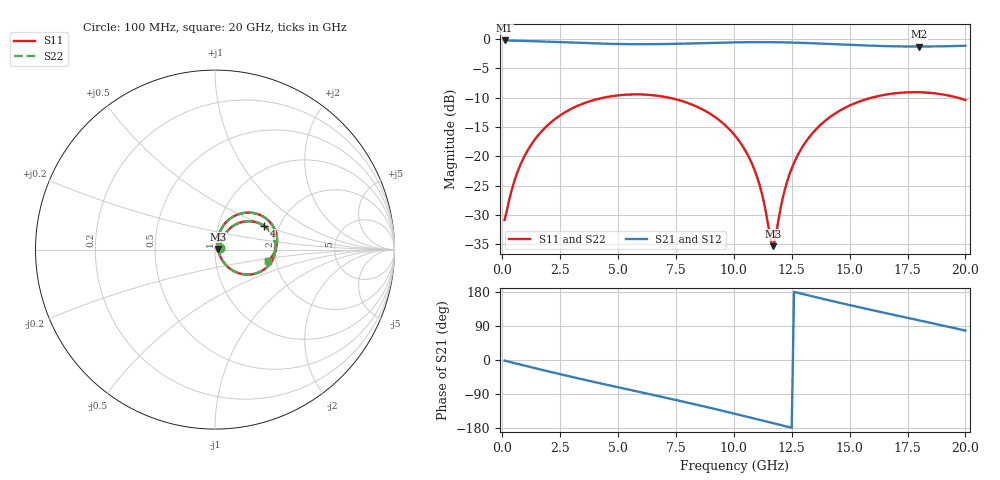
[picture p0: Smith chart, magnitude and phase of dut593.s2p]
! Touchstone file exported from HFSS 2026.1.0
!  File:  C:/ffzhzh/LocalFiles/Ansys_Project_Files/temp_train_TSV_RDL_593_1783120998_35180.aedt
!  Generated:  07:32:15 AM Jul  4, 2026
!  Design:  TSV_RDL
!  Project:  temp_train_TSV_RDL_593_1783120998_35180
! Variables:
!  h_bsmrdl = 3.3um
!  h_ox = 20um
!  h_rdl = 5um
!  h_sub = 95.36um
!  h_tmrdl = 4.72um
!  h_tsv = 95.36um
!  h_via = 3um
!  l_bsmrdl = 581.88um
!  l_sub = 3985.88um
!  l_tmrdl = 441.58um
!  m_sub = 200um
!  pitch = 32.16um
!  r_tsv = 12.94um
!  s_tmrdl = 10um
!  w_bsmrdl = 12.75um
!  w_sub = 500um
!  w_tmrdl = 11.89um
!  x_tsv_center1 = 447.525um
!  x_tsv_center2 = 1042.155um
!  x_tsv_center3 = 1495.625um
!  x_tsv_center4 = 2090.255um
!  x_tsv_center5 = 2543.725um
!  x_tsv_center6 = 3138.355um
# GHz S MA R 50.000000
! Terminal data exported
! Port[1] = TM_RDL1_1_T1
! Port[2] = TM_RDL5_1_T1
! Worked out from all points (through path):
!   200 points, 100 MHz to 20 GHz, reference 50 ohm
!   highest |S21| = -0.23 dB at 100 MHz (marker M1); lowest = -1.3 dB at 18 GHz (marker M2)
!   group delay of S21, straight-line fit = 39.3 ps
!   lowest |S11| = -35.3 dB at 11.7 GHz (marker M3), VSWR 1.03, Z = 51.7 + j0.433 ohm
!   |S11| at or under -10 dB: start of sweep to 4.367 GHz; 7.202 GHz to 15.95 GHz (8.746 GHz wide, 75.6 % of centre); 19.67 GHz to end of sweep
!   |S22| runs from -35.2 to -9.1 dB; largest |S21 - S12| = 1.7e-14
!   S11 on the Smith chart (normalised r, x): 100 MHz: 1.05, +0.02; 4 GHz: 1.67, +0.48; 20 GHz: 1.82, -0.25
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0.1  0.02864 21.1  0.9735 -1.6  0.9735 -1.6  0.02864 21.1
! Gamma 0 0 0 0
! Port Impedance 50 0 50 0
0.6  0.0685 55.0  0.9684 -9.3  0.9684 -9.3  0.0685 55.0
1.3  0.1299 56.0  0.9602 -19.9  0.9602 -19.9  0.1299 56.0
2.3  0.2096 46.5  0.9449 -34.6  0.9449 -34.6  0.2096 46.5
3.5  0.2822 32.0  0.9251 -51.6  0.9251 -51.6  0.2822 32.0
4  0.3038 25.7  0.918 -58.4  0.918 -58.4  0.3038 25.7
5.4  0.336 8.1  0.9057 -77.3  0.9057 -77.3  0.336 8.1
6.8  0.3266 -9.5  0.9066 -96.0  0.9066 -96.0  0.3266 -9.5
8.7  0.248 -33.7  0.9243 -122.3  0.9243 -122.3  0.248 -33.7
10.1  0.146 -50.6  0.9383 -142.7  0.9383 -142.7  0.146 -50.5
11  0.06701 -55.6  0.9422 -156.2  0.9422 -156.2  0.06703 -55.4
11.3  0.04042 -49.7  0.9421 -160.7  0.9421 -160.7  0.04047 -49.5
11.6  0.0189 -14.6  0.9413 -165.2  0.9413 -165.2  0.01904 -14.3
11.7  0.01711 14.2  0.9409 -166.8  0.9409 -166.8  0.01729 14.2
12.1  0.04299 70.3  0.9382 -172.8  0.9382 -172.8  0.04308 70.1
12.4  0.0698 75.2  0.9354 -177.3  0.9354 -177.3  0.06987 75.0
12.8  0.1058 74.3  0.9307 176.7  0.9307 176.7  0.1059 74.2
13.4  0.1577 68.8  0.9218 167.8  0.9218 167.8  0.1577 68.7
14.8  0.2593 52.0  0.8969 147.7  0.8969 147.7  0.2593 51.9
16.7  0.3394 28.3  0.8697 121.8  0.8697 121.8  0.3394 28.3
18  0.3521 12.4  0.864 104.6  0.864 104.6  0.3521 12.4
20  0.3022 -12.1  0.8776 77.6  0.8776 77.6  0.3022 -12.1
